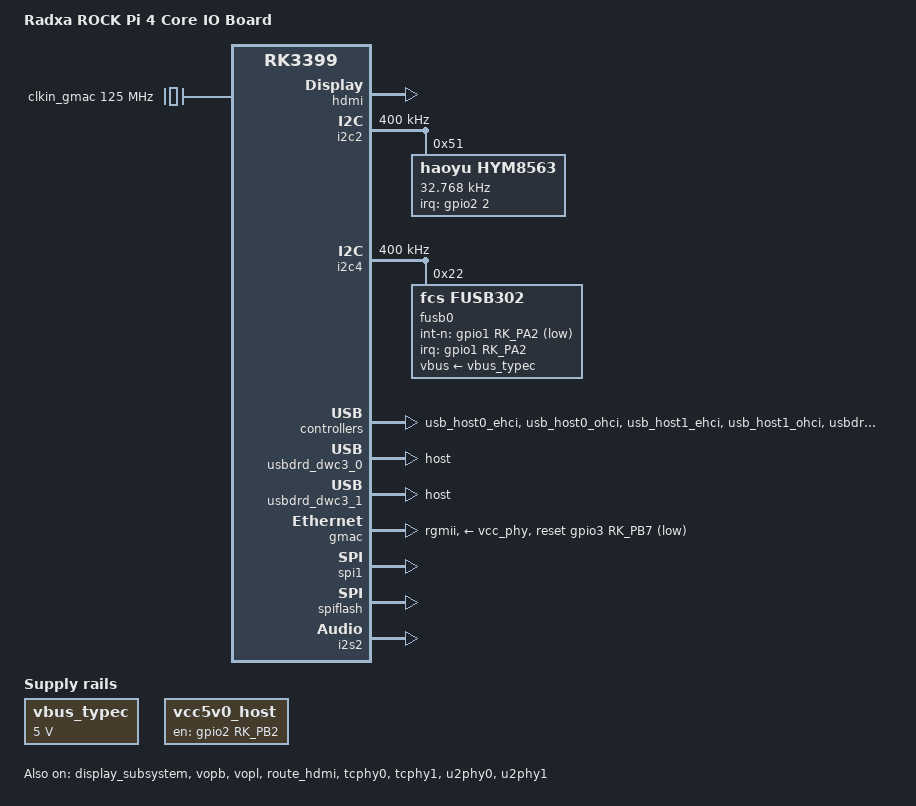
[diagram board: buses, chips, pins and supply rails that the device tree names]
// SPDX-License-Identifier: (GPL-2.0+ OR MIT)
/*
 * Copyright (c) 2024 Rockchip Electronics Co., Ltd.
 * Copyright (c) 2024 Radxa Computer (Shenzhen) Co., Ltd.
 *
 */

/dts-v1/;

#include "rk3399-rock-pi-4-core.dtsi"

/ {
	model = "Radxa ROCK Pi 4 Core IO Board";
	compatible = "radxa,rock-pi-4-core-io", "radxa,rock-pi-4-core", "rockchip,rk3399";

	vbus_typec: vbus-typec {
		compatible = "regulator-fixed";
		regulator-min-microvolt = <5000000>;
		regulator-max-microvolt = <5000000>;
		regulator-name = "vbus_typec";
	};

	vcc5v0_host: vcc5v0-host-regulator {
		compatible = "regulator-fixed";
		enable-active-high;
		gpio = <&gpio2 RK_PB2 GPIO_ACTIVE_HIGH>;
		pinctrl-names = "default";
		pinctrl-0 = <&host_vbus_drv>;
		regulator-name = "vcc5v0_host";
	};

	clkin_gmac: external-gmac-clock {
		compatible = "fixed-clock";
		clock-frequency = <125000000>;
		clock-output-names = "clkin_gmac";
		#clock-cells = <0>;
	};

	hdmi_sound: hdmi-sound {
		status = "okay";
		compatible = "rockchip,hdmi";
		rockchip,mclk-fs = <256>;
		rockchip,card-name = "rockchip-hdmi0";
		rockchip,cpu = <&i2s2>;
		rockchip,codec = <&hdmi>;
		rockchip,jack-det;
	};
};

&display_subsystem {
	status = "okay";
};

&vopb {
	status = "okay";
	assigned-clocks = <&cru DCLK_VOP0_DIV>;
	assigned-clock-parents = <&cru PLL_CPLL>;
};

&vopb_mmu {
	status = "okay";
};

&vopl {
	status = "okay";
	assigned-clocks = <&cru DCLK_VOP1_DIV>;
	assigned-clock-parents = <&cru PLL_VPLL>;
};

&vopl_mmu {
	status = "okay";
};

&hdmi {
	pinctrl-names = "default";
	pinctrl-0 = <&hdmi_i2c_xfer>, <&hdmi_cec>;
	#address-cells = <1>;
	#size-cells = <0>;
	#sound-dai-cells = <0>;
	status = "okay";
};

&hdmi_in_vopl {
	status = "disabled";
};

&route_hdmi {
	connect = <&vopb_out_hdmi>;
	status = "okay";
};

&hdmi_sound {
	status = "okay";
};

&dp_in_vopb {
	status = "disabled";
};

&dp_in_vopl {
	status = "disabled";
};

&i2c2 {
	status = "okay";
	clock-frequency = <400000>;

	hym8563: hym8563@51 {
		compatible = "haoyu,hym8563";
		status = "okay";
		reg = <0x51>;
		#clock-cells = <0>;
		clock-frequency = <32768>;
		clock-output-names = "hym8563";
		pinctrl-names = "default";
		pinctrl-0 = <&hym8563_int>;
		interrupt-parent = <&gpio2>;
		interrupts = <2 IRQ_TYPE_LEVEL_LOW>;
	};
};

&i2c4 {
	clock-frequency = <400000>;
	i2c-scl-rising-time-ns = <160>;
	i2c-scl-falling-time-ns = <30>;
	status = "okay";

	fusb0: typec-portc@22 {
		compatible = "fcs,fusb302";
		reg = <0x22>;
		interrupt-parent = <&gpio1>;
		interrupts = <RK_PA2 IRQ_TYPE_LEVEL_LOW>;
		int-n-gpios = <&gpio1 RK_PA2 GPIO_ACTIVE_LOW>;
		pinctrl-names = "default";
		pinctrl-0 = <&fusb0_int>;
		vbus-supply = <&vbus_typec>;
	};
};

&usb_host0_ehci {
	status = "okay";
};

&usb_host0_ohci {
	status = "okay";
};

&usb_host1_ehci {
	status = "okay";
};

&usb_host1_ohci {
	status = "okay";
};

&tcphy0 {
	status = "okay";
};

&tcphy1 {
	status = "okay";
};

&u2phy0 {
	status = "okay";

	u2phy0_otg: otg-port {
		status = "okay";
	};

	u2phy0_host: host-port {
		phy-supply = <&vcc5v0_host>;
		status = "okay";
	};
};

&u2phy1 {
	status = "okay";

	u2phy1_otg: otg-port {
		status = "okay";
	};

	u2phy1_host: host-port {
		phy-supply = <&vcc5v0_host>;
		status = "okay";
	};
};

&usbdrd3_0 {
	status = "okay";
};

&usbdrd_dwc3_0 {
	dr_mode = "host";
	extcon = <&u2phy0>;
	status = "okay";
};

&usbdrd3_1 {
	status = "okay";
};

&usbdrd_dwc3_1 {
	dr_mode = "host";
	status = "okay";
};

&gmac {
	phy-supply = <&vcc_phy>;
	phy-mode = "rgmii";
	clock_in_out = "input";
	snps,reset-gpio = <&gpio3 RK_PB7 GPIO_ACTIVE_LOW>;
	snps,reset-active-low;
	snps,reset-delays-us = <0 10000 50000>;
	assigned-clocks = <&cru SCLK_RMII_SRC>;
	assigned-clock-parents = <&clkin_gmac>;
	pinctrl-names = "default";
	pinctrl-0 = <&rgmii_pins>;
	tx_delay = <0x28>;
	rx_delay = <0x11>;
	status = "okay";
};

&spi1 {
	status = "okay";
};

&spiflash {
	status = "okay";
};

&i2s2 {
	#sound-dai-cells = <0>;
	status = "okay";
};

&pinctrl {

	hym8563 {
		hym8563_int: hym8563-int {
			rockchip,pins =
				<2 RK_PA2 RK_FUNC_GPIO &pcfg_pull_up>;
		};
	};

	usb2 {
		host_vbus_drv: host-vbus-drv {
			rockchip,pins =
				<2 RK_PB2 RK_FUNC_GPIO &pcfg_pull_none>;
		};
	};

	fusb30x {
		fusb0_int: fusb0-int {
			rockchip,pins =
				<1 RK_PA2 RK_FUNC_GPIO &pcfg_pull_up>;
		};
	};
};
